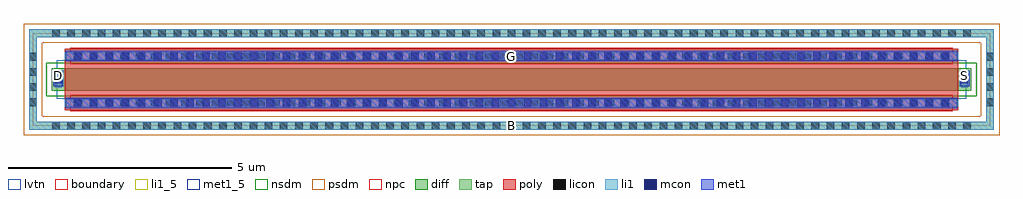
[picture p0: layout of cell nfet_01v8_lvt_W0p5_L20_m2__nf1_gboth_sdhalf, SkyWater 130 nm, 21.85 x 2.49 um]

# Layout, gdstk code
import gdstk
lib = gdstk.Library(unit=1e-6, precision=1e-09)
def R(c, l, rs):  # rectangles x0, y0, x1, y1
    for r in rs: c.add(gdstk.rectangle(r[:2], r[2:], *l))
def A(c, l, x, y, w, h, nx, ny, dx, dy):  # array of equal rectangles
    R(c, l, [(x+i*dx, y+j*dy, x+i*dx+w, y+j*dy+h) for i in range(nx) for j in range(ny)])
diff = (65, 20)
tap = (65, 44)
poly = (66, 20)
licon = (66, 44)
li1_5 = (67, 5)
li1 = (67, 20)
mcon = (67, 44)
met1_5 = (68, 5)
met1 = (68, 20)
nsdm = (93, 44)
psdm = (94, 20)
npc = (95, 20)
lvtn = (125, 44)
boundary = (235, 4)

sky130_fd_pr__nfet_01v8_ = lib.new_cell('sky130_fd_pr__nfet_01v8_lvt_DXPM3J')
R(sky130_fd_pr__nfet_01v8_, diff, [(-10.29,-0.25,10.29,0.25)])
R(sky130_fd_pr__nfet_01v8_, tap, [(-10.8,-1.12,10.8,-0.95), (-10.8,-0.95,-10.63,0.95), (10.63,-0.95,10.8,0.95), (-10.8,0.95,10.8,1.12)])
R(sky130_fd_pr__nfet_01v8_, poly, [(-10,-0.69,10,0.69)])
A(sky130_fd_pr__nfet_01v8_, licon, -10.285, -1.12, 0.17, 0.17, 61, 2, 0.34, 2.07)
A(sky130_fd_pr__nfet_01v8_, licon, -9.775, -0.61, 0.17, 0.17, 58, 2, 0.34, 1.05)
A(sky130_fd_pr__nfet_01v8_, licon, -10.8, -0.595, 0.17, 0.17, 1, 4, 0, 0.34)
A(sky130_fd_pr__nfet_01v8_, licon, 10.63, -0.595, 0.17, 0.17, 1, 4, 0, 0.34)
R(sky130_fd_pr__nfet_01v8_, licon, [(-10.23,-0.085,-10.06,0.085), (10.06,-0.085,10.23,0.085)])
R(sky130_fd_pr__nfet_01v8_, li1, [(-10.8,-1.12,10.8,-0.95), (-10.8,-0.95,-10.63,0.95), (10.63,-0.95,10.8,0.95), (-10,-0.61,10,-0.44), (-10.23,-0.175,-10.06,0.175), (10.06,-0.175,10.23,0.175), (-10,0.44,10,0.61), (-10.8,0.95,10.8,1.12)])
A(sky130_fd_pr__nfet_01v8_, mcon, -9.805, -0.61, 0.17, 0.17, 55, 2, 0.36, 1.05)
R(sky130_fd_pr__nfet_01v8_, mcon, [(-10.23,-0.085,-10.06,0.085), (10.06,-0.085,10.23,0.085)])
R(sky130_fd_pr__nfet_01v8_, met1, [(-9.98,-0.64,9.98,-0.41), (-10.26,-0.155,-10.03,0.155), (10.03,-0.155,10.26,0.155), (-9.98,0.41,9.98,0.64)])
R(sky130_fd_pr__nfet_01v8_, nsdm, [(-10.415,-0.375,10.415,0.375)])
R(sky130_fd_pr__nfet_01v8_, psdm, [(-10.925,-1.245,10.925,-0.825), (-10.925,-0.825,-10.505,0.825), (10.505,-0.825,10.925,0.825), (-10.925,0.825,10.925,1.245)])
R(sky130_fd_pr__nfet_01v8_, npc, [(-9.875,-0.71,9.875,-0.34), (-9.875,0.34,9.875,0.71)])
R(sky130_fd_pr__nfet_01v8_, lvtn, [(-10.18,-0.43,10.18,0.43)])
R(sky130_fd_pr__nfet_01v8_, boundary, [(-10.715,-1.035,10.715,1.035)])
sky130_fd_pr__nfet_01v8_.add(gdstk.Label('B', (0,-1.035), layer=67, texttype=5))
sky130_fd_pr__nfet_01v8_.add(gdstk.Label('D', (-10.145,0), layer=67, texttype=5))
sky130_fd_pr__nfet_01v8_.add(gdstk.Label('S', (10.145,0), layer=67, texttype=5))
sky130_fd_pr__nfet_01v8_.add(gdstk.Label('G', (0,0.525), layer=67, texttype=5))

nfet_01v8_lvt_w0p5_l20_m = lib.new_cell('nfet_01v8_lvt_W0p5_L20_m2__nf1_gboth_sdhalf')
R(nfet_01v8_lvt_w0p5_l20_m, li1_5, [(10.63,-0.085,10.8,0.085)])
R(nfet_01v8_lvt_w0p5_l20_m, li1, [(10.63,-0.085,10.8,0.085)])
R(nfet_01v8_lvt_w0p5_l20_m, met1_5, [(0.455,1.035,0.685,1.235), (20.745,1.035,20.975,1.235), (0.735,1.445,20.695,1.675)])
R(nfet_01v8_lvt_w0p5_l20_m, met1, [(0.455,1.035,0.685,1.235), (20.745,1.035,20.975,1.235), (0.735,1.445,20.695,1.675)])
nfet_01v8_lvt_w0p5_l20_m.add(gdstk.Reference(sky130_fd_pr__nfet_01v8_, (10.715,1.035)))
nfet_01v8_lvt_w0p5_l20_m.add(gdstk.Label('D', (0.57,1.135), layer=68, texttype=5))
nfet_01v8_lvt_w0p5_l20_m.add(gdstk.Label('S', (20.86,1.135), layer=68, texttype=5))
nfet_01v8_lvt_w0p5_l20_m.add(gdstk.Label('G', (10.715,1.56), layer=68, texttype=5))
nfet_01v8_lvt_w0p5_l20_m.add(gdstk.Label('B', (10.715,0), layer=67, texttype=5))

lib.write_gds('nfet_01v8_lvt_W0p5_L20_m2__nf1_gboth_sdhalf.gds')
